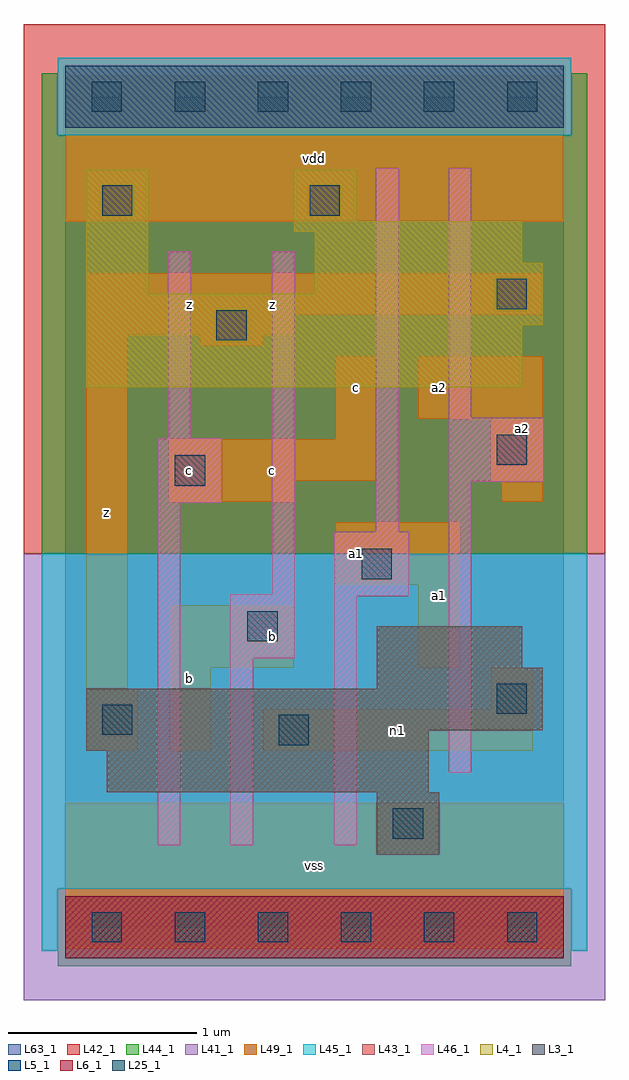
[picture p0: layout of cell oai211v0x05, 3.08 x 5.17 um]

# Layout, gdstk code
import gdstk
lib = gdstk.Library(unit=1e-6, precision=1e-09)
def R(c, l, rs):  # rectangles x0, y0, x1, y1
    for r in rs: c.add(gdstk.rectangle(r[:2], r[2:], *l))
def A(c, l, x, y, w, h, nx, ny, dx, dy):  # array of equal rectangles
    R(c, l, [(x+i*dx, y+j*dy, x+i*dx+w, y+j*dy+h) for i in range(nx) for j in range(ny)])
L3_1 = (3, 1)
L4_1 = (4, 1)
L5_1 = (5, 1)
L6_1 = (6, 1)
L25_1 = (25, 1)
L41_1 = (41, 1)
L42_1 = (42, 1)
L43_1 = (43, 1)
L44_1 = (44, 1)
L45_1 = (45, 1)
L46_1 = (46, 1)
L49_1 = (49, 1)
L63_1 = (63, 1)

oai211v0x05 = lib.new_cell('oai211v0x05')
R(oai211v0x05, L3_1, [(1.65,0.385,1.98,0.715), (0.22,0.715,1.925,0.935), (0.11,0.935,1.925,1.045), (0.11,1.045,2.53,1.265), (1.65,1.265,2.53,1.375), (1.65,1.375,2.42,1.595)])
R(oai211v0x05, L4_1, [(0.11,2.86,2.42,3.19), (0.11,3.19,2.53,3.355), (0.11,3.355,0.44,4.015), (1.32,3.355,2.53,3.52), (1.32,3.52,2.42,3.685), (1.21,3.685,2.42,3.74), (1.21,3.74,1.54,4.015)])
R(oai211v0x05, L5_1, [(0,4.235,2.64,4.565)])
R(oai211v0x05, L6_1, [(0,-0.165,2.64,0.165)])
A(oai211v0x05, L25_1, 0.14, -0.08, 0.16, 0.16, 6, 2, 0.44, 4.4)
R(oai211v0x05, L25_1, [(1.735,0.47,1.895,0.63), (1.13,0.965,1.29,1.125), (0.195,1.02,0.355,1.18), (2.285,1.13,2.445,1.29), (0.965,1.515,1.125,1.675), (1.57,1.845,1.73,2.005), (0.58,2.34,0.74,2.5), (2.285,2.45,2.445,2.61), (0.8,3.11,0.96,3.27), (2.285,3.275,2.445,3.435), (0.195,3.77,0.355,3.93), (1.295,3.77,1.455,3.93)])
R(oai211v0x05, L41_1, [(-0.22,-0.385,2.86,1.98)])
R(oai211v0x05, L42_1, [(-0.22,1.98,2.86,4.785)])
R(oai211v0x05, L43_1, [(0,-0.165,2.64,0.165), (1.65,0.385,1.98,0.715), (0.22,0.715,1.925,0.935), (0.11,0.935,1.925,1.045), (0.11,1.045,2.53,1.265), (1.65,1.265,2.53,1.375), (1.65,1.375,2.42,1.595), (0.11,2.86,2.42,3.19), (0.11,3.19,2.53,3.355), (0.11,3.355,0.44,4.015), (1.32,3.355,2.53,3.52), (1.32,3.52,2.42,3.685), (1.21,3.685,2.42,3.74), (1.21,3.74,1.54,4.015), (0,4.235,2.64,4.565)])
R(oai211v0x05, L44_1, [(-0.04,-0.205,2.68,0.205), (-0.125,1.98,2.765,4.195), (-0.125,4.195,-0.04,4.525), (2.68,4.195,2.765,4.525)])
R(oai211v0x05, L45_1, [(-0.125,-0.125,-0.04,0.205), (2.68,-0.125,2.765,0.205), (-0.125,0.205,2.765,1.98), (-0.04,4.195,2.68,4.605)])
R(oai211v0x05, L46_1, [(0.49,0.435,0.61,2.25), (0.875,0.435,0.995,1.425), (1.425,0.435,1.545,1.755), (2.03,0.82,2.15,2.36), (0.875,1.425,1.215,1.765), (1.425,1.755,1.82,2.095), (1.095,1.765,1.215,3.58), (1.645,2.095,1.765,4.02), (0.49,2.25,0.83,2.59), (2.03,2.36,2.535,2.7), (0.545,2.59,0.665,3.58), (2.03,2.7,2.15,4.02)])
R(oai211v0x05, L49_1, [(0,-0.11,2.64,0.66), (0.11,0.935,0.385,1.265), (0.55,0.935,0.77,1.375), (1.045,0.935,2.475,1.155), (2.255,1.155,2.475,1.375), (0.11,1.265,0.33,3.135), (0.55,1.375,1.21,1.705), (1.87,1.375,2.09,1.815), (1.43,1.815,2.09,2.145), (0.55,2.255,1.21,2.365), (2.31,2.255,2.53,2.365), (0.55,2.365,1.65,2.585), (2.255,2.365,2.53,2.695), (1.43,2.585,1.65,3.025), (1.87,2.695,2.53,3.025), (0.715,3.08,1.045,3.135), (0.11,3.135,1.21,3.245), (0.11,3.245,2.53,3.465), (0,3.74,2.64,4.51)])
R(oai211v0x05, L63_1, [(0,0,2.64,4.4)])
oai211v0x05.add(gdstk.Label('z', (0.22,2.2), layer=49, texttype=1))
oai211v0x05.add(gdstk.Label('b', (0.66,1.32), layer=49, texttype=1))
oai211v0x05.add(gdstk.Label('c', (0.66,2.42), layer=49, texttype=1))
oai211v0x05.add(gdstk.Label('z', (0.66,3.3), layer=49, texttype=1))
oai211v0x05.add(gdstk.Label('vss', (1.32,0.33), layer=49, texttype=1))
oai211v0x05.add(gdstk.Label('b', (1.1,1.54), layer=49, texttype=1))
oai211v0x05.add(gdstk.Label('c', (1.1,2.42), layer=49, texttype=1))
oai211v0x05.add(gdstk.Label('z', (1.1,3.3), layer=49, texttype=1))
oai211v0x05.add(gdstk.Label('vdd', (1.32,4.07), layer=49, texttype=1))
oai211v0x05.add(gdstk.Label('a1', (1.98,1.76), layer=49, texttype=1))
oai211v0x05.add(gdstk.Label('a1', (1.54,1.98), layer=49, texttype=1))
oai211v0x05.add(gdstk.Label('a2', (1.98,2.86), layer=49, texttype=1))
oai211v0x05.add(gdstk.Label('c', (1.54,2.86), layer=49, texttype=1))
oai211v0x05.add(gdstk.Label('n1', (1.76,1.045), layer=49, texttype=1))
oai211v0x05.add(gdstk.Label('a2', (2.42,2.64), layer=49, texttype=1))

lib.write_gds('oai211v0x05.gds')
